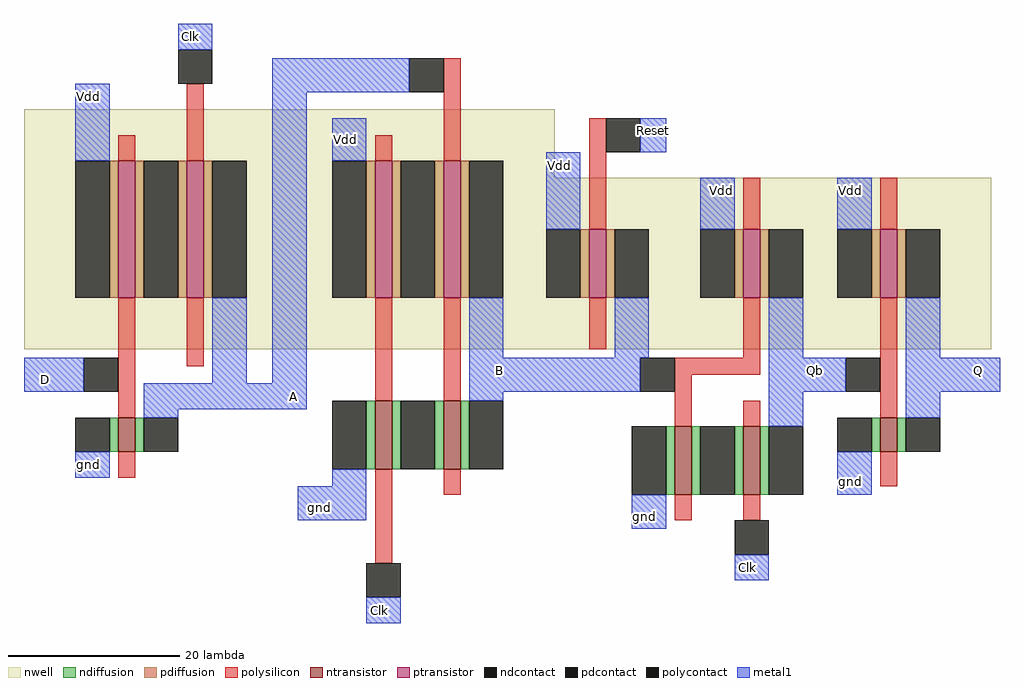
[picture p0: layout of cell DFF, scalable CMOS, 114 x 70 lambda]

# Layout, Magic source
magic
tech scmos
<< nwell >>
rect 10 20 72 28
rect 10 0 123 20
<< ntransistor >>
rect 21 -12 23 -8
rect 51 -14 53 -6
rect 59 -14 61 -6
rect 86 -17 88 -9
rect 94 -17 96 -9
rect 110 -12 112 -8
<< ptransistor >>
rect 21 6 23 22
rect 29 6 31 22
rect 51 6 53 22
rect 59 6 61 22
rect 76 6 78 14
rect 94 6 96 14
rect 110 6 112 14
<< ndiffusion >>
rect 20 -12 21 -8
rect 23 -12 24 -8
rect 50 -14 51 -6
rect 53 -14 54 -6
rect 58 -14 59 -6
rect 61 -14 62 -6
rect 85 -17 86 -9
rect 88 -17 89 -9
rect 93 -17 94 -9
rect 96 -17 97 -9
rect 109 -12 110 -8
rect 112 -12 113 -8
<< pdiffusion >>
rect 20 6 21 22
rect 23 6 24 22
rect 28 6 29 22
rect 31 6 32 22
rect 50 6 51 22
rect 53 6 54 22
rect 58 6 59 22
rect 61 6 62 22
rect 75 6 76 14
rect 78 6 79 14
rect 93 6 94 14
rect 96 6 97 14
rect 109 6 110 14
rect 112 6 113 14
<< ndcontact >>
rect 16 -12 20 -8
rect 24 -12 28 -8
rect 46 -14 50 -6
rect 54 -14 58 -6
rect 62 -14 66 -6
rect 81 -17 85 -9
rect 89 -17 93 -9
rect 97 -17 101 -9
rect 105 -12 109 -8
rect 113 -12 117 -8
<< pdcontact >>
rect 16 6 20 22
rect 24 6 28 22
rect 32 6 36 22
rect 46 6 50 22
rect 54 6 58 22
rect 62 6 66 22
rect 71 6 75 14
rect 79 6 83 14
rect 89 6 93 14
rect 97 6 101 14
rect 105 6 109 14
rect 113 6 117 14
<< polysilicon >>
rect 21 22 23 25
rect 29 22 31 31
rect 51 22 53 25
rect 59 22 61 34
rect 76 14 78 27
rect 94 14 96 20
rect 110 14 112 20
rect 21 -8 23 6
rect 29 -2 31 6
rect 51 -6 53 6
rect 59 -6 61 6
rect 76 0 78 6
rect 94 -1 96 6
rect 86 -3 96 -1
rect 21 -15 23 -12
rect 86 -9 88 -3
rect 94 -9 96 -6
rect 110 -8 112 6
rect 51 -25 53 -14
rect 59 -17 61 -14
rect 110 -16 112 -12
rect 86 -20 88 -17
rect 94 -20 96 -17
<< polycontact >>
rect 28 31 32 35
rect 55 30 59 34
rect 78 23 82 27
rect 17 -5 21 -1
rect 82 -5 86 -1
rect 106 -5 110 -1
rect 93 -24 97 -20
rect 50 -29 54 -25
<< metal1 >>
rect 28 35 32 38
rect 16 22 20 31
rect 39 30 55 34
rect 10 -5 17 -1
rect 32 -4 36 6
rect 39 -4 43 30
rect 46 22 50 27
rect 82 23 85 27
rect 71 14 75 23
rect 89 14 93 20
rect 105 14 109 20
rect 24 -7 43 -4
rect 62 -1 66 6
rect 79 -1 83 6
rect 97 -1 101 6
rect 113 -1 117 6
rect 62 -5 82 -1
rect 97 -5 106 -1
rect 113 -5 124 -1
rect 62 -6 66 -5
rect 24 -8 28 -7
rect 16 -15 20 -12
rect 97 -9 101 -5
rect 113 -8 117 -5
rect 46 -16 50 -14
rect 42 -20 50 -16
rect 105 -17 109 -12
rect 81 -21 85 -17
rect 93 -27 97 -24
rect 50 -32 54 -29
<< labels >>
rlabel metal1 51 -31 52 -30 1 Clk
rlabel metal1 44 -19 45 -18 1 gnd
rlabel metal1 47 24 48 25 1 Vdd
rlabel metal1 65 -3 66 -2 1 B
rlabel metal1 83 25 84 26 1 Reset
rlabel metal1 72 21 73 22 1 Vdd
rlabel metal1 94 -26 95 -25 1 Clk
rlabel metal1 91 18 92 19 1 Vdd
rlabel metal1 82 -20 83 -19 1 gnd
rlabel metal1 121 -3 122 -2 7 Q
rlabel metal1 106 18 107 19 1 Vdd
rlabel metal1 106 -16 107 -15 1 gnd
rlabel metal1 29 36 30 37 5 Clk
rlabel metal1 12 -4 13 -3 3 D
rlabel metal1 41 -6 42 -5 1 A
rlabel metal1 17 29 18 30 1 Vdd
rlabel metal1 17 -14 18 -13 1 gnd
rlabel metal1 102 -3 103 -2 1 Qb
<< end >>
